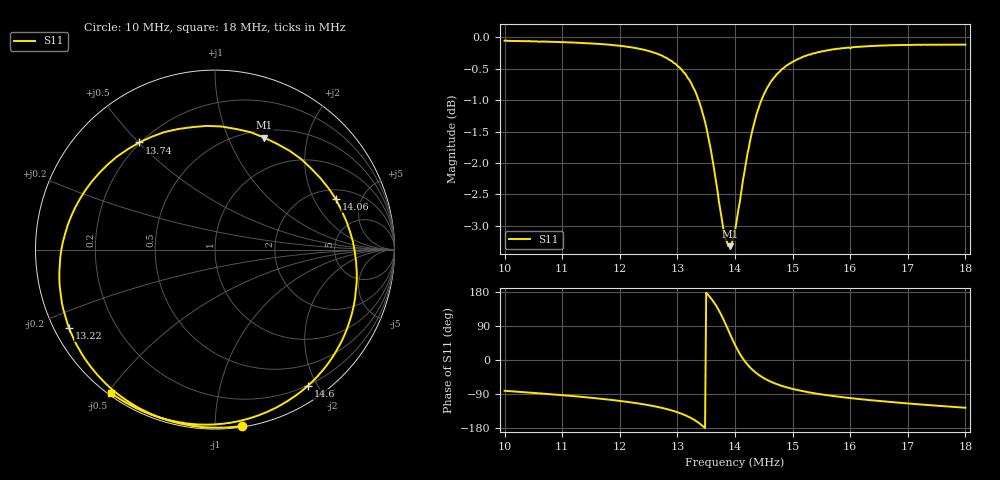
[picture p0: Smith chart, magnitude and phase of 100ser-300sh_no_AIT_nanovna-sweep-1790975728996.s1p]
! NanoVNA Web complex sweep
! Processing: original sample grid, no browser smoothing
# Hz S RI R 50
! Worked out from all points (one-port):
!   401 points, 10 MHz to 18 MHz, reference 50 ohm
!   lowest |S11| = -3.3 dB at 13.92 MHz (marker M1), VSWR 5.28, Z = 29.3 + j68.2 ohm
!   |S11| at or under -10 dB: nowhere
!   S11 on the Smith chart (normalised r, x): 10 MHz: 0.01, -1.17; 13.22 MHz: 0.04, -0.25; 13.74 MHz: 0.20, +0.50; 14.06 MHz: 2.51, +3.03; 14.6 MHz: 0.19, -1.88; 18 MHz: 0.01, -0.51
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1e7  0.1521 -0.9824
1.1e7  -0.0484 -0.9903
1.2e7  -0.3033 -0.937
1.26e7  -0.5166 -0.8236
1.282e7  -0.6148 -0.7407
1.3e7  -0.7034 -0.638
1.322e7  -0.8138 -0.4355
1.338e7  -0.8654 -0.2006
1.352e7  -0.8356 0.0858
1.358e7  -0.7799 0.2328
1.364e7  -0.6845 0.3816
1.374e7  -0.4217 0.597
1.38e7  -0.2037 0.6721
1.384e7  -0.0462 0.6893
1.392e7  0.275 0.6237
1.4e7  0.537 0.4506
1.406e7  0.6732 0.2816
1.412e7  0.7521 0.1008
1.418e7  0.7862 -0.0717
1.432e7  0.7496 -0.4002
1.446e7  0.6399 -0.6207
1.46e7  0.517 -0.759
1.478e7  0.3727 -0.8626
1.5e7  0.2269 -0.929
1.544e7  0.0111 -0.9734
1.6e7  -0.1795 -0.9636
1.7e7  -0.4118 -0.8962
1.8e7  -0.58 -0.7985
